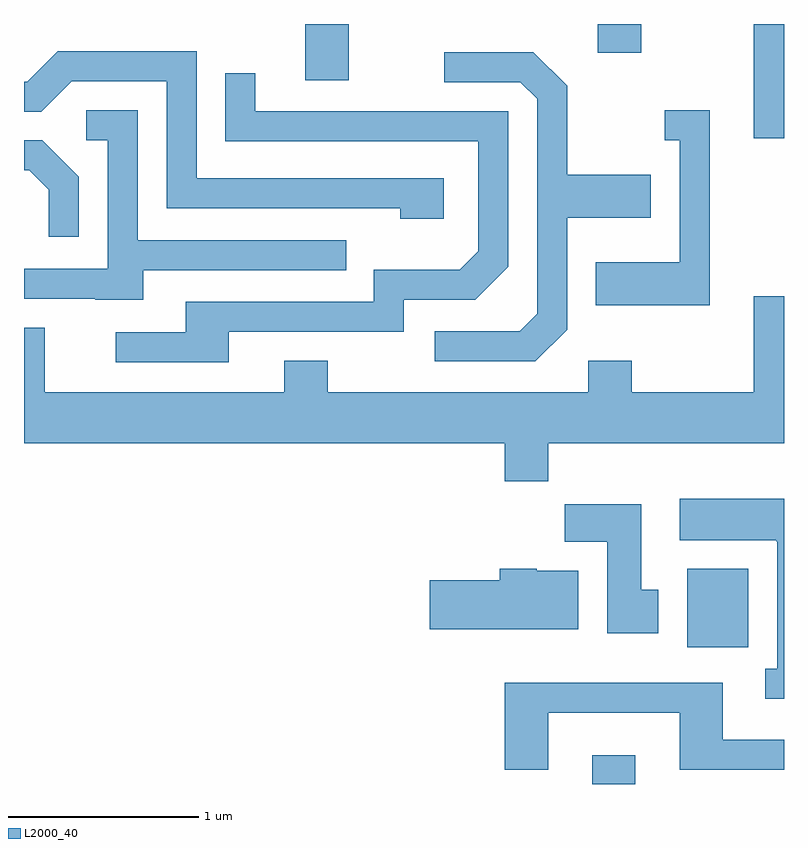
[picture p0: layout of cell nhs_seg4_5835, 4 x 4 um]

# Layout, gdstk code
import gdstk
lib = gdstk.Library(unit=1e-6, precision=1e-09)
def R(c, l, rs):  # rectangles x0, y0, x1, y1
    for r in rs: c.add(gdstk.rectangle(r[:2], r[2:], *l))
def P(c, l, *ps):  # polygons
    for p in ps: c.add(gdstk.Polygon(p, *l))
L2000_40 = (2000, 40)

nhs_seg4_5835 = lib.new_cell('nhs_seg4_5835')
R(nhs_seg4_5835, L2000_40, [(358.601,1363.982,358.829,1364.134), (359.101,1364.701,359.424,1365.114), (359.451,1367.381,359.611,1367.982), (357.091,1367.686,357.319,1367.982), (358.631,1367.831,358.859,1367.982)])
P(nhs_seg4_5835, L2000_40, [(357.819,1367.169),(356.519,1367.169),(356.519,1367.839),(355.789,1367.839),(355.629,1367.679),(355.611,1367.679),(355.611,1367.521),(355.702,1367.521),(355.862,1367.681),(356.361,1367.681),(356.361,1367.011),(357.591,1367.011),(357.591,1366.956),(357.819,1366.956)],
  [(358.469,1366.374),(358.469,1366.961),(358.909,1366.961),(358.909,1367.189),(358.469,1367.189),(358.469,1367.657),(358.292,1367.834),(357.823,1367.834),(357.823,1367.676),(358.224,1367.676),(358.311,1367.589),(358.311,1366.457),(358.219,1366.364),(357.773,1366.364),(357.773,1366.206),(358.302,1366.206)],
  [(356.689,1366.361),(357.609,1366.361),(357.609,1366.531),(357.987,1366.531),(358.159,1366.704),(358.159,1367.524),(356.829,1367.524),(356.829,1367.723),(356.671,1367.723),(356.671,1367.366),(358.001,1367.366),(358.001,1366.787),(357.904,1366.689),(357.451,1366.689),(357.451,1366.519),(356.461,1366.519),(356.461,1366.359),(356.093,1366.359),(356.093,1366.201),(356.689,1366.201)],
  [(359.219,1367.529),(358.983,1367.529),(358.983,1367.371),(359.061,1367.371),(359.061,1366.729),(358.621,1366.729),(358.621,1366.501),(359.219,1366.501)],
  [(356.239,1366.686),(357.308,1366.686),(357.308,1366.844),(356.209,1366.844),(356.209,1367.529),(355.938,1367.529),(355.938,1367.371),(356.051,1367.371),(356.051,1366.694),(355.611,1366.694),(355.611,1366.536),(355.985,1366.536),(355.985,1366.531),(356.239,1366.531)],
  [(355.899,1367.177),(355.707,1367.369),(355.611,1367.369),(355.611,1367.211),(355.639,1367.211),(355.741,1367.109),(355.741,1366.863),(355.899,1366.863)],
  [(358.369,1365.776),(359.611,1365.776),(359.611,1366.549),(359.451,1366.549),(359.451,1366.044),(358.809,1366.044),(358.809,1366.209),(358.581,1366.209),(358.581,1366.044),(357.209,1366.044),(357.209,1366.209),(356.981,1366.209),(356.981,1366.044),(355.719,1366.044),(355.719,1366.384),(355.611,1366.384),(355.611,1365.776),(358.141,1365.776),(358.141,1365.576),(358.369,1365.576)],
  [(359.611,1365.484),(359.061,1365.484),(359.061,1365.266),(359.57,1365.266),(359.57,1365.26),(359.576,1365.26),(359.576,1364.589),(359.513,1364.589),(359.513,1364.431),(359.611,1364.431)],
  [(358.949,1365.004),(358.859,1365.004),(358.859,1365.454),(358.456,1365.454),(358.456,1365.256),(358.681,1365.256),(358.681,1364.776),(358.949,1364.776)],
  [(358.529,1365.104),(358.31,1365.104),(358.31,1365.114),(358.116,1365.114),(358.116,1365.054),(357.746,1365.054),(357.746,1364.796),(358.529,1364.796)],
  [(358.369,1364.356),(359.061,1364.356),(359.061,1364.056),(359.611,1364.056),(359.611,1364.214),(359.289,1364.214),(359.289,1364.514),(358.141,1364.514),(358.141,1364.056),(358.369,1364.056)])

lib.write_gds('nhs_seg4_5835.gds')
